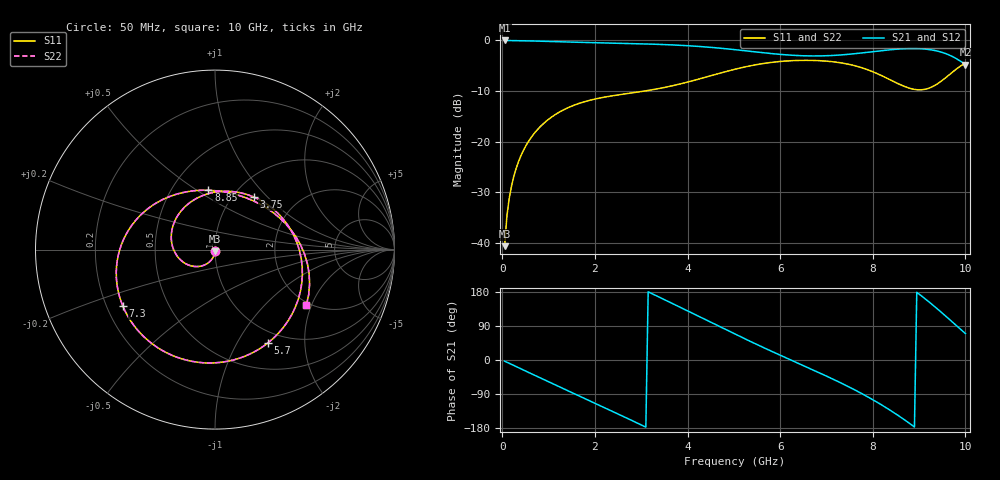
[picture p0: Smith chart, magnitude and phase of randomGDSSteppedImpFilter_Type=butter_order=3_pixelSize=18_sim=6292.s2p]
! freq	dB(S11)	phase(S11)	dB(S12)	phase(S12)
!  dB(S21)	phase(S21)	dB(S22)	phase(S22)
!S-par simulation data
#  GHz  S  DB  R 50
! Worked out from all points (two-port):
!   200 points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, 50 MHz to 10 GHz, reference 50 ohm
!   highest |S21| = -0.01 dB at 50 MHz (marker M1); lowest = -4.8 dB at 10 GHz (marker M2)
!   |S21| within 3 dB of the highest: start of sweep to 6.437 GHz; 7.044 GHz to 9.681 GHz (2.637 GHz wide, 31.5 % of centre)
!   lowest |S11| = -40.6 dB at 50 MHz (marker M3), VSWR 1.02, Z = 50 - j0.932 ohm
!   |S11| at or under -10 dB: start of sweep to 3.061 GHz
!   |S22| runs from -40.6 to -3.9 dB; largest |S21 - S12| = 0
!   S11 on the Smith chart (normalised r, x): 50 MHz: 1.00, -0.02; 3.75 GHz: 1.23, +0.84; 5.7 GHz: 0.84, -1.35; 7.3 GHz: 0.27, -0.26; 8.85 GHz: 0.75, +0.56; 10 GHz: 1.91, -1.84
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0.05  -40.60 -92.2  -0.01 -2.9  -0.01 -2.9  -40.60 -92.2
0.1  -34.62 -95.3  -0.01 -5.9  -0.01 -5.9  -34.62 -95.3
0.2  -28.69 -101.4  -0.03 -11.6  -0.03 -11.6  -28.69 -101.4
0.5  -20.95 -119.4  -0.08 -28.9  -0.08 -28.9  -20.95 -119.4
1.15  -14.59 -156.7  -0.23 -66.0  -0.23 -66.0  -14.59 -156.7
1.75  -12.16 169.3  -0.39 -99.9  -0.39 -99.9  -12.16 169.2
2.65  -10.55 118.2  -0.59 -151.1  -0.59 -151.1  -10.55 118.0
3.4  -9.46 74.6  -0.78 165.3  -0.78 165.3  -9.47 74.3
3.75  -8.79 53.8  -0.92 144.5  -0.92 144.5  -8.79 53.6
4.4  -7.23 15.2  -1.29 105.6  -1.29 105.6  -7.23 14.9
5.05  -5.63 -23.2  -1.85 66.9  -1.85 66.9  -5.63 -23.4
5.7  -4.47 -60.5  -2.49 29.5  -2.49 29.5  -4.47 -60.7
6.2  -4.02 -88.0  -2.89 1.7  -2.89 1.7  -4.02 -88.2
6.7  -3.94 -115.0  -3.06 -25.7  -3.06 -25.7  -3.94 -115.1
7.3  -4.41 -148.6  -2.87 -59.8  -2.87 -59.8  -4.41 -148.7
7.9  -5.82 173.4  -2.32 -97.8  -2.32 -97.8  -5.82 173.2
8.35  -7.65 140.5  -1.86 -130.6  -1.86 -130.6  -7.65 140.2
8.85  -9.57 96.3  -1.60 -172.3  -1.60 -172.3  -9.57 95.8
9.15  -9.59 64.6  -1.72 159.6  -1.72 159.6  -9.59 64.1
9.5  -7.89 25.5  -2.36 123.8  -2.36 123.8  -7.88 25.2
9.75  -6.04 -2.7  -3.32 96.8  -3.32 96.8  -6.03 -2.9
10  -4.50 -31.4  -4.77 69.8  -4.77 69.8  -4.49 -31.5
